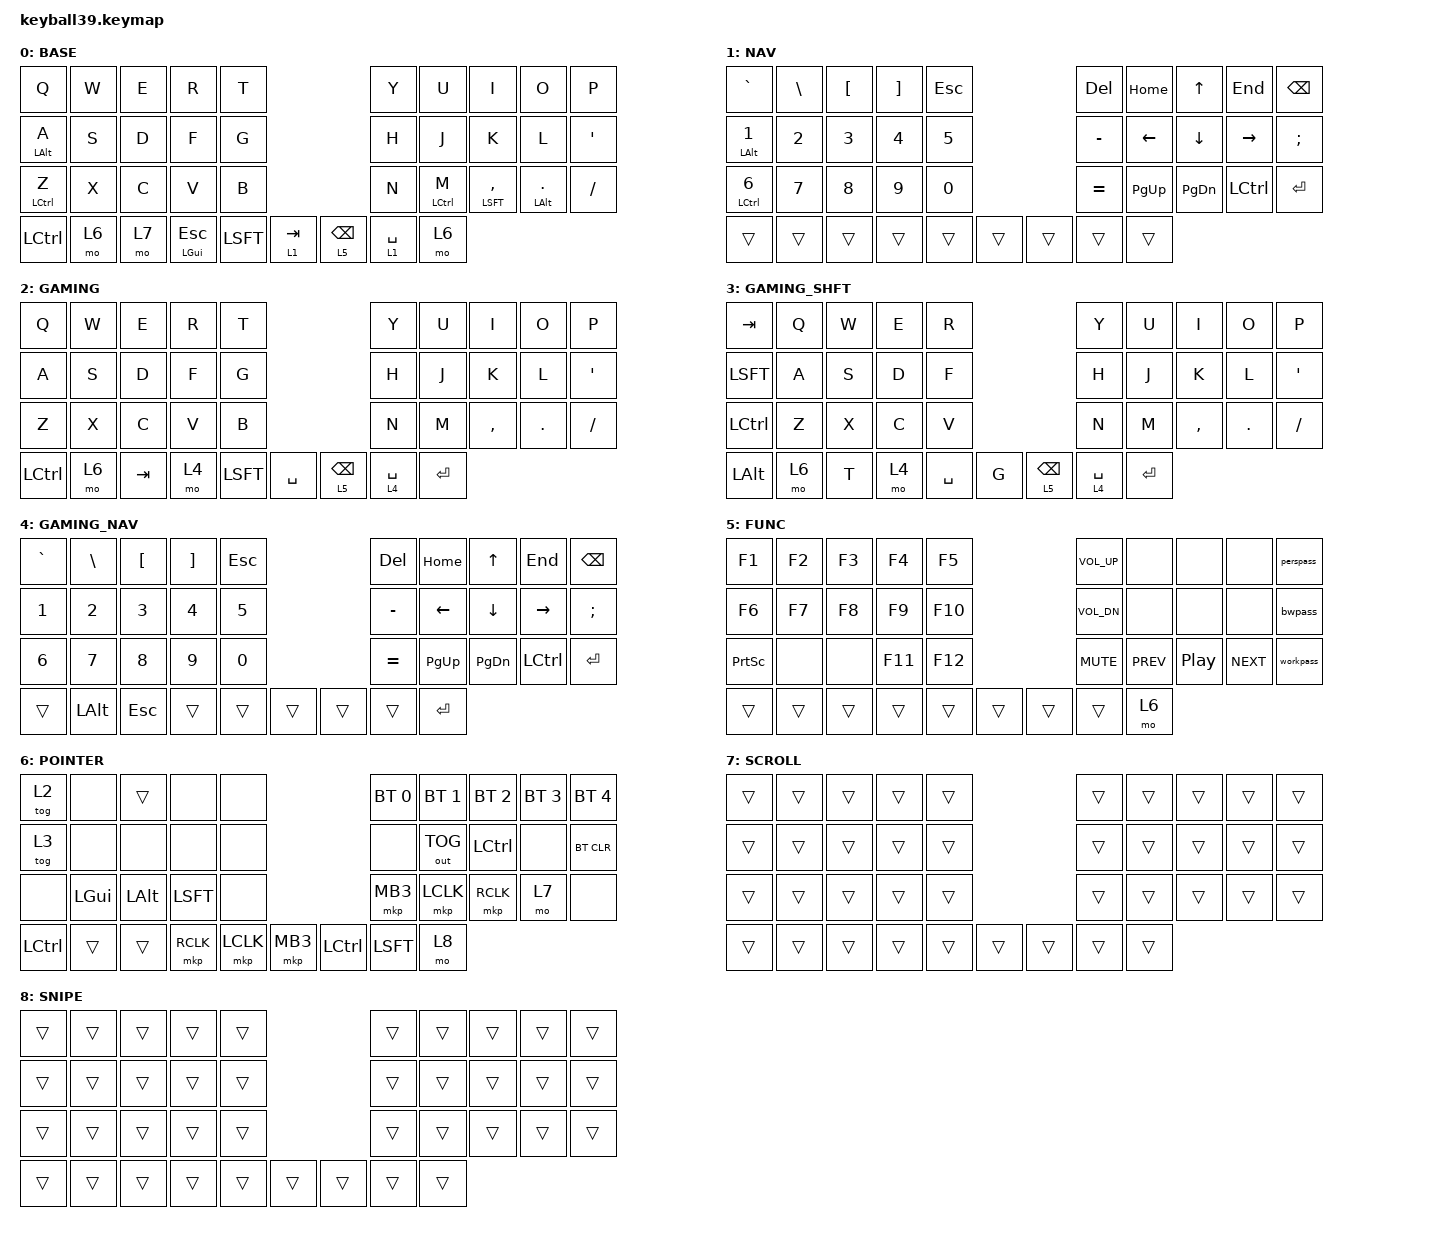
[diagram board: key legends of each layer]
#define LAYER_BASE 0
#define LAYER_NAV 1
#define LAYER_GAMING 2
#define LAYER_GAMING_SHFT 3
#define LAYER_GAMING_NAV 4
#define LAYER_FUNC 5
#define LAYER_POINTER 6
#define LAYER_SCROLL 7
#define LAYER_SNIPE 8

#include <behaviors/mouse_keys.dtsi>
#include <dt-bindings/zmk/mouse.h>
#include <behaviors.dtsi>
#include <dt-bindings/zmk/keys.h>
#include <dt-bindings/zmk/bt.h>
#include <dt-bindings/zmk/outputs.h>
#include "secrets.dtsi"

&lt {
    tapping-term-ms = <200>;
    flavor = "tap-preferred";
    quick-tap-ms = <150>;
};

&mt {
    tapping-term-ms = <200>;
    flavor = "tap-preferred";
    quick-tap-ms = <150>;
};

/ {

    keymap {
        compatible = "zmk,keymap";

        base_layer {
            label = "BASE";
            bindings = <
&kp Q            &kp W       &kp E        &kp R              &kp T                                          &kp Y              &kp U            &kp I               &kp O             &kp P
&mt LALT A       &kp S       &kp D        &kp F              &kp G                                          &kp H              &kp J            &kp K               &kp L             &kp SQT
&mt LCTRL Z      &kp X       &kp C        &kp V              &kp B                                          &kp N              &mt LCTRL M      &mt LSFT COMMA      &mt LALT DOT      &kp SLASH
&kp LCTRL        &mo 6       &mo 7        &mt LGUI ESC       &kp LSFT       &lt 1 TAB         &lt 5 BSPC    &lt 1 SPACE        &mo 6
            >;
        };

        nav_layer {
            label = "NAV";
            bindings = <
&kp GRAVE        &kp BSLH    &kp LBKT     &kp RBKT           &kp ESC                                        &kp DEL            &kp HOME         &kp UP              &kp END           &kp BSPC
&mt LALT N1      &kp N2      &kp N3       &kp N4             &kp N5                                         &kp MINUS          &kp LEFT         &kp DOWN            &kp RIGHT         &kp SEMI
&mt LCTRL N6     &kp N7      &kp N8       &kp N9             &kp N0                                         &kp EQUAL          &kp PG_UP        &kp PG_DN           &kp LCTRL         &kp ENTER
&trans           &trans      &trans       &trans             &trans         &trans            &trans        &trans             &trans
            >;
        };

        gaming_layer {
            label = "GAMING";
            bindings = <
&kp Q            &kp W       &kp E        &kp R              &kp T                                          &kp Y              &kp U            &kp I               &kp O             &kp P
&kp A            &kp S       &kp D        &kp F              &kp G                                          &kp H              &kp J            &kp K               &kp L             &kp SQT
&kp Z            &kp X       &kp C        &kp V              &kp B                                          &kp N              &kp M            &kp COMMA           &kp DOT           &kp SLASH
&kp LCTRL        &mo 6       &kp TAB      &mo 4              &kp LSFT       &kp SPACE         &lt 5 BSPC   &lt 4 SPACE        &kp ENTER
            >;
        };

        gaming_shft_layer {
            label = "GAMING_SHFT";
            bindings = <
&kp TAB          &kp Q       &kp W        &kp E              &kp R                                          &kp Y              &kp U            &kp I               &kp O             &kp P
&kp LSFT         &kp A       &kp S        &kp D              &kp F                                          &kp H              &kp J            &kp K               &kp L             &kp SQT
&kp LCTRL        &kp Z       &kp X        &kp C              &kp V                                          &kp N              &kp M            &kp COMMA           &kp DOT           &kp SLASH
&kp LALT         &mo 6       &kp T        &mo 4              &kp SPACE      &kp G             &lt 5 BSPC   &lt 4 SPACE        &kp ENTER
            >;
        };

        gaming_nav_layer {
            label = "GAMING_NAV";
            bindings = <
&kp GRAVE        &kp BSLH    &kp LBKT     &kp RBKT           &kp ESC                                        &kp DEL            &kp HOME         &kp UP              &kp END           &kp BSPC
&kp N1           &kp N2      &kp N3       &kp N4             &kp N5                                         &kp MINUS          &kp LEFT         &kp DOWN            &kp RIGHT         &kp SEMI
&kp N6           &kp N7      &kp N8       &kp N9             &kp N0                                         &kp EQUAL          &kp PG_UP        &kp PG_DN           &kp LCTRL         &kp ENTER
&trans           &kp LALT    &kp ESC      &trans             &trans         &trans            &trans        &trans             &kp ENTER
            >;
        };

        func_layer {
            label = "FUNC";
            bindings = <
&kp F1           &kp F2      &kp F3       &kp F4             &kp F5                                         &kp C_VOL_UP       &none            &none               &none             &perspass
&kp F6           &kp F7      &kp F8       &kp F9             &kp F10                                        &kp C_VOL_DN       &none            &none               &none             &bwpass
&kp PSCRN        &none       &none        &kp F11            &kp F12                                        &kp C_MUTE         &kp C_PREV       &kp C_PP            &kp C_NEXT        &workpass
&trans           &trans      &trans       &trans             &trans         &trans            &trans        &trans             &mo 6
            >;
        };

        pointer_layer {
            label = "POINTER";
            bindings = <
&tog 2           &none       &trans       &none              &none                                          &bt BT_SEL 0       &bt BT_SEL 1     &bt BT_SEL 2        &bt BT_SEL 3      &bt BT_SEL 4
&tog 3           &none       &none        &none              &none                                          &none              &out OUT_TOG     &kp LCTRL           &none             &bt BT_CLR
&none            &kp LGUI    &kp LALT     &kp LSFT           &none                                          &mkp MB3           &mkp LCLK        &mkp RCLK           &mo 7             &none
&kp LCTRL        &trans      &trans       &mkp RCLK          &mkp LCLK      &mkp MB3          &kp LCTRL     &kp LSFT           &mo 8
            >;
        };

        scroll_layer {
            label = "SCROLL";
            bindings = <
&trans           &trans      &trans       &trans             &trans                                         &trans             &trans           &trans              &trans            &trans
&trans           &trans      &trans       &trans             &trans                                         &trans             &trans           &trans              &trans            &trans
&trans           &trans      &trans       &trans             &trans                                         &trans             &trans           &trans              &trans            &trans
&trans           &trans      &trans       &trans             &trans         &trans            &trans        &trans             &trans
            >;
        };

        snipe_layer {
            label = "SNIPE";
            bindings = <
&trans           &trans      &trans       &trans             &trans                                         &trans             &trans           &trans              &trans            &trans
&trans           &trans      &trans       &trans             &trans                                         &trans             &trans           &trans              &trans            &trans
&trans           &trans      &trans       &trans             &trans                                         &trans             &trans           &trans              &trans            &trans
&trans           &trans      &trans       &trans             &trans         &trans            &trans        &trans             &trans
            >;
        };
    };
};
